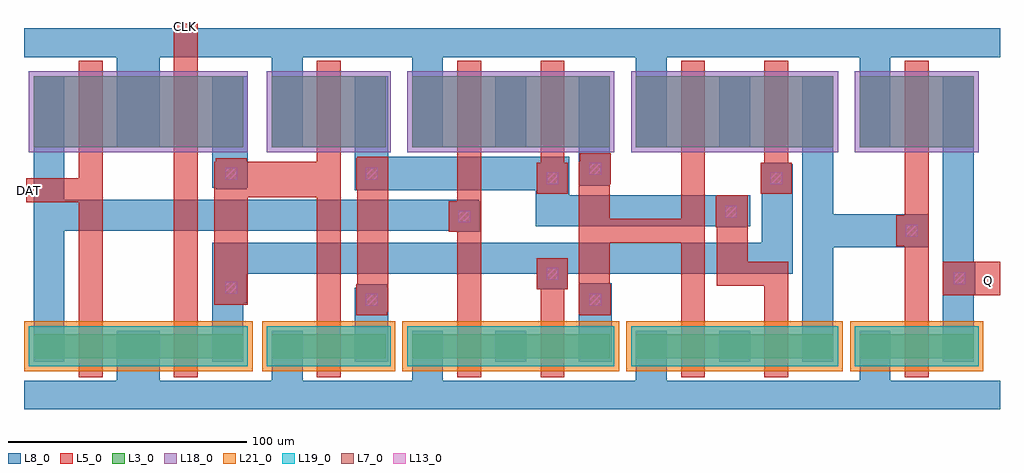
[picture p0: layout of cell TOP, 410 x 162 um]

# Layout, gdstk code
import gdstk
lib = gdstk.Library(unit=1e-6, precision=1e-09)
def R(c, l, rs):  # rectangles x0, y0, x1, y1
    for r in rs: c.add(gdstk.rectangle(r[:2], r[2:], *l))
def A(c, l, x, y, w, h, nx, ny, dx, dy):  # array of equal rectangles
    R(c, l, [(x+i*dx, y+j*dy, x+i*dx+w, y+j*dy+h) for i in range(nx) for j in range(ny)])
L3_0 = (3, 0)
L5_0 = (5, 0)
L7_0 = (7, 0)
L8_0 = (8, 0)
L13_0 = (13, 0)
L18_0 = (18, 0)
L19_0 = (19, 0)
L21_0 = (21, 0)

pch_1 = lib.new_cell('Pch$1')
R(pch_1, L3_0, [(0,17,48,47)])
R(pch_1, L18_0, [(-2,15,50,49)])
pch_1.add(gdstk.FlexPath([(24,17),(24,47)], 10, ends=(6.5, 6.5), simple_path=True, layer=5, datatype=0))  # L5_0
pch_1.add(gdstk.FlexPath([(6.5,17),(6.5,47)], 13, ends="flush", simple_path=True, layer=8, datatype=0))  # L8_0
pch_1.add(gdstk.FlexPath([(41.5,17),(41.5,47)], 13, ends="flush", simple_path=True, layer=8, datatype=0))  # L8_0

nch_1 = lib.new_cell('Nch$1')
R(nch_1, L3_0, [(0,18.5,48,28.5)])
R(nch_1, L19_0, [(-2,15,50,32)])
R(nch_1, L21_0, [(-4,13,52,34)])
nch_1.add(gdstk.FlexPath([(24,17),(24,30)], 10, ends=(6.5, 6.5), simple_path=True, layer=5, datatype=0))  # L5_0
nch_1.add(gdstk.FlexPath([(6.5,17),(6.5,30)], 13, ends="flush", simple_path=True, layer=8, datatype=0))  # L8_0
nch_1.add(gdstk.FlexPath([(41.5,17),(41.5,30)], 13, ends="flush", simple_path=True, layer=8, datatype=0))  # L8_0

pcont = lib.new_cell('pcont')
R(pcont, L5_0, [(-6.5,-6.5,6.5,6.5)])
R(pcont, L7_0, [(-2.5,-2.5,2.5,2.5)])
R(pcont, L8_0, [(-6.5,-6.5,6.5,6.5)])
R(pcont, L13_0, [(-2.5,-2.5,2.5,2.5)])

top = lib.new_cell('TOP')
R(top, L5_0, [(307,-56,317,-31), (19,-54,29,11), (59,-54,69,11), (119,-54,129,11), (178,-54,188,12), (213,-54,223,-39), (272,-54,282,11), (366,-54,376,11), (229,-53,242,-44), (136,-52,149,13), (76,-49,90,-4), (229,-47,242,11), (382,-45,406,-31), (287,-41,300,-3), (300,-41,307,-31), (242,-23,273,-13), (-3,-6,29,4), (76,-4,79,11), (79,-4,119,11), (59,53,69,69)])
A(top, L8_0, 159, -81, 13, 8, 3, 2, 94, 128)
R(top, L8_0, [(-4,-93,0,-81), (0,-93,158,-81), (158,-93,263,-81), (263,-93,378,-81), (378,-93,406,-81), (35,-81,53,-73), (100,-81,113,-73), (0,-73,13,33), (75,-73,88,-35), (135,-73,149,-42), (229,-73,243,-40), (323,-73,336,17), (382,-73,395,31), (75,-36,145,-23), (135,-36,187,-23), (187,-36,225,-23), (225,-36,277,-23), (277,-36,318,-23), (306,-36,319,10), (336,-25,376,-11), (13,-18,139,-5), (135,-18,187,-5), (211,-16,263,-3), (263,-16,301,-3), (211,-6,225,0), (135,-1,149,47), (135,-1,225,13), (75,0,90,47), (229,1,242,22), (35,46,53,55), (100,47,113,55), (-4,55,0,67), (0,55,158,67), (158,55,263,67), (263,55,378,67), (378,55,406,67)])
top.add(gdstk.Reference(pch_1, (0,0)))
top.add(gdstk.Reference(pch_1, (40,0)))
top.add(gdstk.Reference(pch_1, (100,0)))
top.add(gdstk.Reference(nch_1, (0,-90)))
top.add(gdstk.Reference(nch_1, (40,-90)))
top.add(gdstk.Reference(nch_1, (100,-90)))
top.add(gdstk.Reference(pcont, (83,6)))
top.add(gdstk.Reference(pch_1, (159,0)))
top.add(gdstk.Reference(nch_1, (159,-90)))
top.add(gdstk.Reference(pch_1, (194,0)))
top.add(gdstk.Reference(nch_1, (194,-90)))
top.add(gdstk.Reference(pcont, (83,-42)))
top.add(gdstk.Reference(pcont, (142,-47)))
top.add(gdstk.Reference(pcont, (142,6)))
top.add(gdstk.Reference(pcont, (181,-12)))
top.add(gdstk.Reference(pcont, (218,4)))
top.add(gdstk.Reference(pcont, (218,-36)))
top.add(gdstk.Reference(pch_1, (253,0)))
top.add(gdstk.Reference(pch_1, (288,0)))
top.add(gdstk.Reference(nch_1, (253,-90)))
top.add(gdstk.Reference(nch_1, (288,-90)))
top.add(gdstk.Reference(pcont, (236,8)))
top.add(gdstk.Reference(pcont, (236,-47)))
top.add(gdstk.Reference(pcont, (293,-10)))
top.add(gdstk.Reference(pcont, (312,4)))
top.add(gdstk.Reference(pch_1, (347,0)))
top.add(gdstk.Reference(nch_1, (347,-90)))
top.add(gdstk.Reference(pcont, (369,-18)))
top.add(gdstk.Reference(pcont, (389,-38)))
top.add(gdstk.Label('CLK', (64,68), layer=5, texttype=0))
top.add(gdstk.Label('DAT', (-2,-1), layer=5, texttype=0))
top.add(gdstk.Label('Q', (401,-39), layer=5, texttype=0))

lib.write_gds('TOP.gds')
